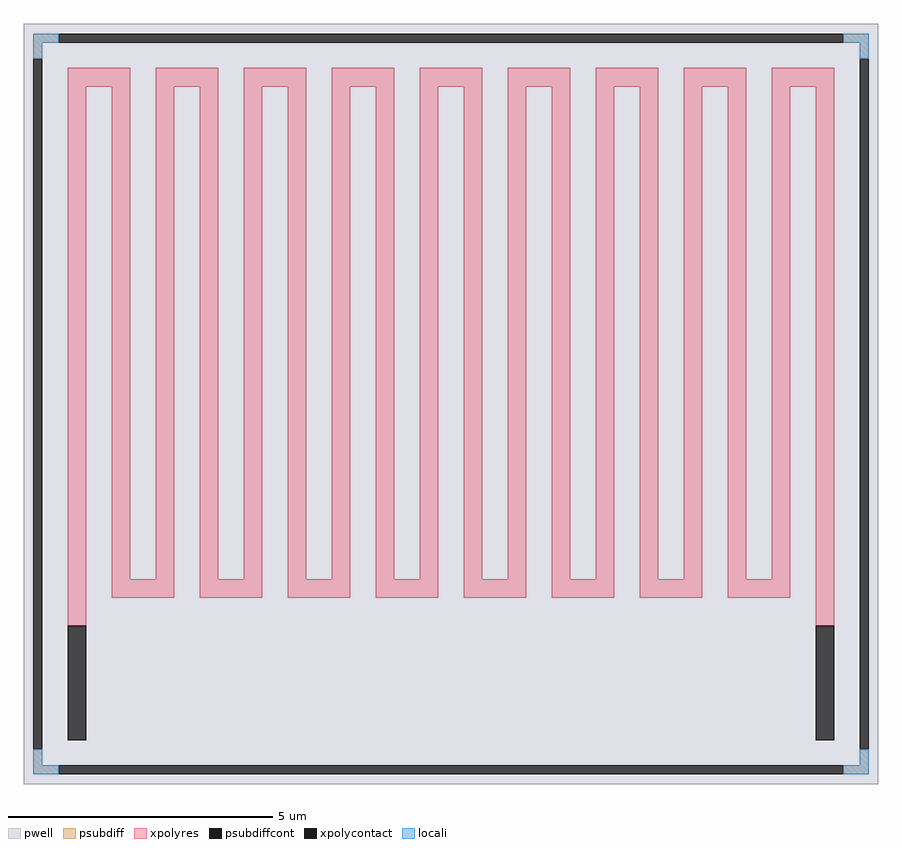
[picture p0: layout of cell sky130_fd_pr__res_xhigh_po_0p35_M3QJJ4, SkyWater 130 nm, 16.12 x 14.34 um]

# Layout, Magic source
magic
tech sky130A
<< pwell >>
rect -806 -717 806 717
<< psubdiff >>
rect -788 682 -740 699
rect 740 682 788 699
rect -788 651 -771 682
rect 771 651 788 682
rect -788 -682 -771 -651
rect 771 -682 788 -651
rect -788 -699 -740 -682
rect 740 -699 788 -682
<< psubdiffcont >>
rect -740 682 740 699
rect -788 -651 -771 651
rect 771 -651 788 651
rect -740 -699 740 -682
<< xpolycontact >>
rect -723 -634 -688 -418
rect 688 -634 723 -418
<< xpolyres >>
rect -723 599 -605 634
rect -723 -418 -688 599
rect -640 -331 -605 599
rect -557 599 -439 634
rect -557 -331 -522 599
rect -640 -366 -522 -331
rect -474 -331 -439 599
rect -391 599 -273 634
rect -391 -331 -356 599
rect -474 -366 -356 -331
rect -308 -331 -273 599
rect -225 599 -107 634
rect -225 -331 -190 599
rect -308 -366 -190 -331
rect -142 -331 -107 599
rect -59 599 59 634
rect -59 -331 -24 599
rect -142 -366 -24 -331
rect 24 -331 59 599
rect 107 599 225 634
rect 107 -331 142 599
rect 24 -366 142 -331
rect 190 -331 225 599
rect 273 599 391 634
rect 273 -331 308 599
rect 190 -366 308 -331
rect 356 -331 391 599
rect 439 599 557 634
rect 439 -331 474 599
rect 356 -366 474 -331
rect 522 -331 557 599
rect 605 599 723 634
rect 605 -331 640 599
rect 522 -366 640 -331
rect 688 -418 723 599
<< locali >>
rect -788 682 -740 699
rect 740 682 788 699
rect -788 651 -771 682
rect 771 651 788 682
rect -788 -682 -771 -651
rect 771 -682 788 -651
rect -788 -699 -740 -682
rect 740 -699 788 -682
<< properties >>
string FIXED_BBOX -779 -690 779 690
string gencell sky130_fd_pr__res_xhigh_po_0p35
string library sky130
string parameters w 0.35 l 10 m 1 nx 18 wmin 0.350 lmin 0.50 rho 2000 val 1.063meg dummy 0 dw 0.0 term 188.2 sterm 0.0 caplen 0 wmax 0.350 guard 1 glc 1 grc 1 gtc 1 gbc 1 compatible {sky130_fd_pr__res_xhigh_po_0p35  sky130_fd_pr__res_xhigh_po_0p69 sky130_fd_pr__res_xhigh_po_1p41  sky130_fd_pr__res_xhigh_po_2p85 sky130_fd_pr__res_xhigh_po_5p73} snake 1 full_metal 1 n_guard 0 hv_guard 0 vias 1 viagb 0 viagt 0 viagl 0 viagr 0
<< end >>
